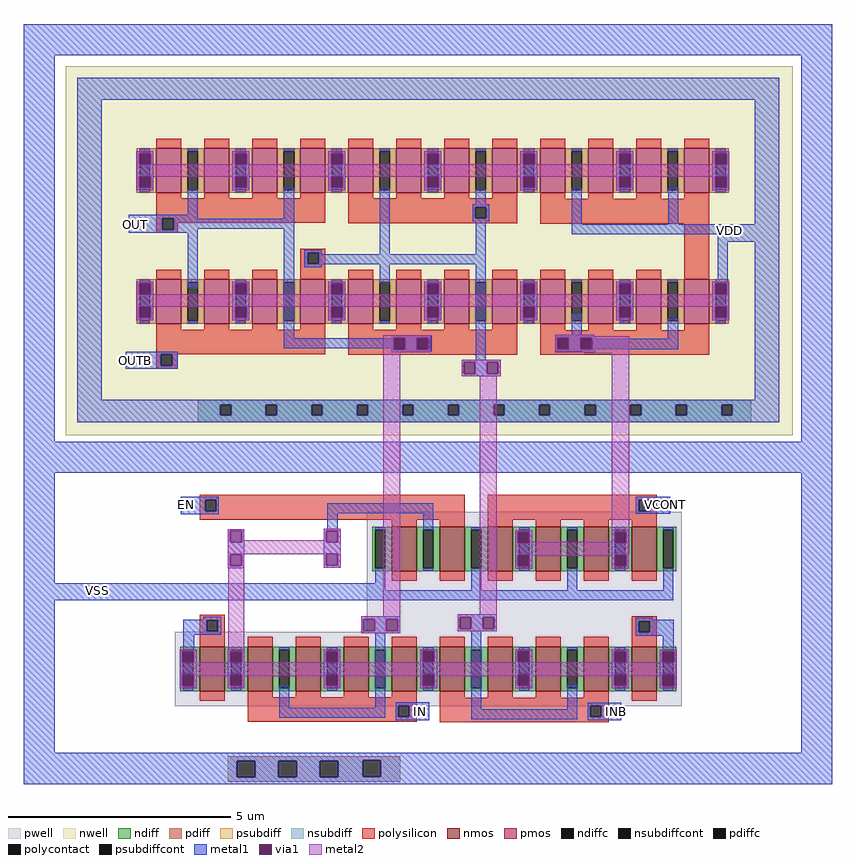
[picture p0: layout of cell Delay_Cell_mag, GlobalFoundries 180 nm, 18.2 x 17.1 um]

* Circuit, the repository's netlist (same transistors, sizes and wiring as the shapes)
* NGSPICE file created from Delay_Cell_mag.ext - technology: gf180mcuC

.subckt pmos_3p3_ZB3RD7 a_268_n144# a_n52_n100# a_n468_n100# a_164_n100# a_380_n100#
+ a_n164_n144# a_n380_n144# a_52_n144# a_n268_n100# w_n554_n230#
X0 a_n268_n100# a_n380_n144# a_n468_n100# w_n554_n230# pfet_03v3 ad=0.26p pd=1.52u as=0.44p ps=2.88u w=1u l=0.56u
X1 a_380_n100# a_268_n144# a_164_n100# w_n554_n230# pfet_03v3 ad=0.44p pd=2.88u as=0.26p ps=1.52u w=1u l=0.56u
X2 a_164_n100# a_52_n144# a_n52_n100# w_n554_n230# pfet_03v3 ad=0.26p pd=1.52u as=0.26p ps=1.52u w=1u l=0.56u
X3 a_n52_n100# a_n164_n144# a_n268_n100# w_n554_n230# pfet_03v3 ad=0.26p pd=1.52u as=0.26p ps=1.52u w=1u l=0.56u
.ends

.subckt nmos_3p3_FSHHD6 a_n52_n100# a_164_n100# a_n164_n144# a_n252_n100# a_52_n144#
+ VSUBS
X0 a_164_n100# a_52_n144# a_n52_n100# VSUBS nfet_03v3 ad=0.44p pd=2.88u as=0.26p ps=1.52u w=1u l=0.56u
X1 a_n52_n100# a_n164_n144# a_n252_n100# VSUBS nfet_03v3 ad=0.26p pd=1.52u as=0.44p ps=2.88u w=1u l=0.56u
.ends

.subckt nmos_3p3_VMHHD6 a_268_n144# a_n52_n100# a_n468_n100# a_164_n100# a_380_n100#
+ a_n164_n144# a_n380_n144# a_52_n144# a_n268_n100# VSUBS
X0 a_n268_n100# a_n380_n144# a_n468_n100# VSUBS nfet_03v3 ad=0.26p pd=1.52u as=0.44p ps=2.88u w=1u l=0.56u
X1 a_380_n100# a_268_n144# a_164_n100# VSUBS nfet_03v3 ad=0.44p pd=2.88u as=0.26p ps=1.52u w=1u l=0.56u
X2 a_164_n100# a_52_n144# a_n52_n100# VSUBS nfet_03v3 ad=0.26p pd=1.52u as=0.26p ps=1.52u w=1u l=0.56u
X3 a_n52_n100# a_n164_n144# a_n268_n100# VSUBS nfet_03v3 ad=0.26p pd=1.52u as=0.26p ps=1.52u w=1u l=0.56u
.ends

.subckt nmos_3p3_QNHHD6 a_56_n100# a_n56_n144# a_n144_n100# VSUBS
X0 a_56_n100# a_n56_n144# a_n144_n100# VSUBS nfet_03v3 ad=0.44p pd=2.88u as=0.44p ps=2.88u w=1u l=0.56u
.ends

.subckt Delay_Cell_mag OUT OUTB EN VCONT INB IN VSS VDD
Xpmos_3p3_ZB3RD7_5 OUT VDD VDD OUTB VDD OUT OUT OUT OUTB VDD pmos_3p3_ZB3RD7
Xpmos_3p3_ZB3RD7_4 OUTB VDD VDD OUT VDD OUTB OUTB OUTB OUT VDD pmos_3p3_ZB3RD7
Xnmos_3p3_FSHHD6_0 a_562_n2079# VSS EN VSS EN VSS nmos_3p3_FSHHD6
Xnmos_3p3_VMHHD6_0 VCONT VSS VSS a_2095_n808# VSS VCONT VCONT VCONT a_2095_n808# VSS
+ nmos_3p3_VMHHD6
Xnmos_3p3_VMHHD6_2 INB a_562_n2079# a_562_n2079# OUTB a_562_n2079# INB INB INB OUTB
+ VSS nmos_3p3_VMHHD6
Xnmos_3p3_VMHHD6_1 IN a_562_n2079# a_562_n2079# OUT a_562_n2079# IN IN IN OUT VSS
+ nmos_3p3_VMHHD6
Xnmos_3p3_QNHHD6_0 a_562_n2079# a_562_n2079# a_562_n2079# VSS nmos_3p3_QNHHD6
Xnmos_3p3_QNHHD6_1 a_562_n2079# a_562_n2079# a_562_n2079# VSS nmos_3p3_QNHHD6
Xpmos_3p3_ZB3RD7_0 a_2095_n808# VDD VDD a_2095_n808# VDD a_2095_n808# a_2095_n808#
+ a_2095_n808# a_2095_n808# VDD pmos_3p3_ZB3RD7
Xpmos_3p3_ZB3RD7_1 OUT m1_277_n67# m1_277_n67# OUT m1_277_n67# OUT OUT OUT OUT VDD
+ pmos_3p3_ZB3RD7
Xpmos_3p3_ZB3RD7_2 OUTB m1_277_n67# m1_277_n67# OUTB m1_277_n67# OUTB OUTB OUTB OUTB
+ VDD pmos_3p3_ZB3RD7
Xpmos_3p3_ZB3RD7_3 a_2095_n808# m1_277_n67# m1_277_n67# VDD m1_277_n67# a_2095_n808#
+ a_2095_n808# a_2095_n808# VDD VDD pmos_3p3_ZB3RD7
.ends

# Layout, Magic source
magic
tech gf180mcuC
magscale 1 10
<< nwell >>
rect -40 -1170 3230 490
<< pwell >>
rect 1314 -2067 2730 -1831
<< psubdiff >>
rect 689 -2633 1465 -2613
rect 689 -2634 1295 -2633
rect 689 -2708 729 -2634
rect 811 -2708 916 -2634
rect 998 -2635 1295 -2634
rect 998 -2708 1103 -2635
rect 689 -2709 1103 -2708
rect 1185 -2707 1295 -2635
rect 1377 -2707 1465 -2633
rect 1185 -2709 1465 -2707
rect 689 -2730 1465 -2709
<< nsubdiff >>
rect 554 -1032 3044 -1010
rect 554 -1080 655 -1032
rect 703 -1080 860 -1032
rect 908 -1080 1065 -1032
rect 1113 -1080 1270 -1032
rect 1318 -1080 1475 -1032
rect 1523 -1080 1680 -1032
rect 1728 -1080 1885 -1032
rect 1933 -1080 2090 -1032
rect 2138 -1080 2295 -1032
rect 2343 -1080 2500 -1032
rect 2548 -1080 2705 -1032
rect 2753 -1080 2910 -1032
rect 2958 -1080 3044 -1032
rect 554 -1110 3044 -1080
<< psubdiffcont >>
rect 729 -2708 811 -2634
rect 916 -2708 998 -2634
rect 1103 -2709 1185 -2635
rect 1295 -2707 1377 -2633
<< nsubdiffcont >>
rect 655 -1080 703 -1032
rect 860 -1080 908 -1032
rect 1065 -1080 1113 -1032
rect 1270 -1080 1318 -1032
rect 1475 -1080 1523 -1032
rect 1680 -1080 1728 -1032
rect 1885 -1080 1933 -1032
rect 2090 -1080 2138 -1032
rect 2295 -1080 2343 -1032
rect 2500 -1080 2548 -1032
rect 2705 -1080 2753 -1032
rect 2910 -1080 2958 -1032
<< polysilicon >>
rect 367 -194 1127 -102
rect 367 -244 394 -194
rect 444 -214 1127 -194
rect 1231 -144 1991 -103
rect 1231 -194 1802 -144
rect 1852 -194 1991 -144
rect 444 -244 464 -214
rect 1231 -215 1991 -194
rect 2095 -217 2855 -105
rect 367 -259 464 -244
rect 1015 -348 1127 -330
rect 1015 -398 1047 -348
rect 1097 -398 1127 -348
rect 1015 -424 1127 -398
rect 2743 -428 2855 -217
rect 367 -793 1127 -694
rect 366 -806 1127 -793
rect 1231 -731 1991 -695
rect 1231 -781 1434 -731
rect 1484 -781 1545 -731
rect 1595 -781 1991 -731
rect 366 -856 387 -806
rect 437 -856 463 -806
rect 1231 -807 1991 -781
rect 2095 -734 2855 -696
rect 2095 -784 2173 -734
rect 2223 -735 2855 -734
rect 2223 -784 2278 -735
rect 2095 -785 2278 -784
rect 2328 -785 2855 -735
rect 2095 -808 2855 -785
rect 366 -870 463 -856
rect 562 -1461 1754 -1437
rect 562 -1511 586 -1461
rect 636 -1511 1754 -1461
rect 562 -1549 1754 -1511
rect 1858 -1461 2618 -1438
rect 1858 -1511 2538 -1461
rect 2588 -1511 2618 -1461
rect 1858 -1549 2618 -1511
rect 562 -2001 674 -1978
rect 562 -2051 593 -2001
rect 643 -2051 674 -2001
rect 562 -2079 674 -2051
rect 2506 -2007 2618 -1983
rect 2506 -2057 2537 -2007
rect 2587 -2057 2618 -2007
rect 2506 -2079 2618 -2057
rect 778 -2386 1538 -2349
rect 778 -2436 1456 -2386
rect 1505 -2436 1538 -2386
rect 778 -2460 1538 -2436
rect 1642 -2387 2402 -2350
rect 1642 -2437 2319 -2387
rect 2369 -2437 2402 -2387
rect 1642 -2461 2402 -2437
<< polycontact >>
rect 394 -244 444 -194
rect 1802 -194 1852 -144
rect 1047 -398 1097 -348
rect 1434 -781 1484 -731
rect 1545 -781 1595 -731
rect 387 -856 437 -806
rect 2173 -784 2223 -734
rect 2278 -785 2328 -735
rect 586 -1511 636 -1461
rect 2538 -1511 2588 -1461
rect 593 -2051 643 -2001
rect 2537 -2057 2587 -2007
rect 1456 -2436 1505 -2386
rect 2319 -2437 2369 -2387
<< metal1 >>
rect -231 541 3409 681
rect -231 -1199 -91 541
rect 10 340 3170 440
rect 10 -1010 120 340
rect 277 100 353 108
rect 277 48 289 100
rect 341 48 353 100
rect 277 -4 353 48
rect 277 -56 289 -4
rect 341 -56 353 -4
rect 277 -67 353 -56
rect 709 100 785 108
rect 709 48 721 100
rect 773 48 785 100
rect 709 -4 785 48
rect 709 -56 721 -4
rect 773 -56 785 -4
rect 1141 100 1217 108
rect 1141 48 1153 100
rect 1205 48 1217 100
rect 1141 -4 1217 48
rect 1141 -56 1153 -4
rect 1205 -56 1217 -4
rect 508 -178 554 -62
rect 709 -67 785 -56
rect 242 -194 554 -178
rect 242 -244 394 -194
rect 444 -195 554 -194
rect 940 -195 986 -56
rect 1141 -67 1217 -56
rect 1573 100 1649 108
rect 1573 48 1585 100
rect 1637 48 1649 100
rect 1573 -4 1649 48
rect 1573 -56 1585 -4
rect 1637 -56 1649 -4
rect 444 -241 986 -195
rect 444 -244 554 -241
rect 242 -259 554 -244
rect 277 -486 353 -478
rect 277 -538 289 -486
rect 341 -538 353 -486
rect 508 -508 554 -259
rect 709 -486 785 -478
rect 277 -590 353 -538
rect 277 -642 289 -590
rect 341 -642 353 -590
rect 277 -653 353 -642
rect 709 -538 721 -486
rect 773 -538 785 -486
rect 709 -590 785 -538
rect 709 -642 721 -590
rect 773 -642 785 -590
rect 709 -653 785 -642
rect 940 -733 986 -241
rect 1032 -348 1111 -335
rect 1032 -398 1047 -348
rect 1097 -354 1111 -348
rect 1372 -354 1418 -59
rect 1573 -67 1649 -56
rect 2005 100 2081 108
rect 2005 48 2017 100
rect 2069 48 2081 100
rect 2005 -4 2081 48
rect 2005 -56 2017 -4
rect 2069 -56 2081 -4
rect 1804 -131 1850 -62
rect 2005 -67 2081 -56
rect 2437 100 2513 108
rect 2437 48 2449 100
rect 2501 48 2513 100
rect 2437 -4 2513 48
rect 2437 -56 2449 -4
rect 2501 -56 2513 -4
rect 2869 100 2945 108
rect 2869 48 2881 100
rect 2933 48 2945 100
rect 2869 -4 2945 48
rect 1790 -144 1864 -131
rect 1790 -194 1802 -144
rect 1852 -194 1864 -144
rect 1790 -206 1864 -194
rect 1804 -354 1850 -206
rect 2236 -220 2282 -58
rect 2437 -67 2513 -56
rect 2669 -220 2715 -55
rect 2869 -56 2881 -4
rect 2933 -56 2945 -4
rect 2869 -67 2945 -56
rect 3060 -220 3170 340
rect 2236 -266 3170 -220
rect 1097 -398 1850 -354
rect 1032 -400 1850 -398
rect 1032 -413 1111 -400
rect 1141 -486 1217 -478
rect 1372 -486 1418 -400
rect 1573 -486 1649 -478
rect 1141 -538 1153 -486
rect 1205 -538 1217 -486
rect 1141 -590 1217 -538
rect 1141 -642 1153 -590
rect 1205 -642 1217 -590
rect 1141 -653 1217 -642
rect 1573 -538 1585 -486
rect 1637 -538 1649 -486
rect 1573 -590 1649 -538
rect 1573 -642 1585 -590
rect 1637 -642 1649 -590
rect 1573 -653 1649 -642
rect 1423 -731 1607 -720
rect 1423 -733 1434 -731
rect 1484 -732 1545 -731
rect 940 -779 1434 -733
rect 1423 -784 1434 -779
rect 1486 -784 1538 -732
rect 1595 -781 1607 -731
rect 1590 -784 1607 -781
rect 1423 -792 1607 -784
rect 230 -806 463 -793
rect 1426 -796 1601 -792
rect 230 -856 387 -806
rect 437 -856 463 -806
rect 1804 -829 1850 -400
rect 2892 -298 3170 -266
rect 2892 -478 2938 -298
rect 2005 -486 2081 -478
rect 2005 -538 2017 -486
rect 2069 -538 2081 -486
rect 2005 -590 2081 -538
rect 2005 -642 2017 -590
rect 2069 -642 2081 -590
rect 2437 -486 2513 -478
rect 2437 -538 2449 -486
rect 2501 -538 2513 -486
rect 2437 -590 2513 -538
rect 2005 -653 2081 -642
rect 2236 -718 2282 -620
rect 2437 -642 2449 -590
rect 2501 -642 2513 -590
rect 2437 -653 2513 -642
rect 2869 -486 2945 -478
rect 2869 -538 2881 -486
rect 2933 -538 2945 -486
rect 2869 -590 2945 -538
rect 2869 -642 2881 -590
rect 2933 -642 2945 -590
rect 2162 -723 2337 -718
rect 2161 -730 2341 -723
rect 2161 -782 2170 -730
rect 2222 -734 2274 -730
rect 2223 -782 2274 -734
rect 2326 -735 2341 -730
rect 2328 -736 2341 -735
rect 2668 -736 2714 -643
rect 2869 -653 2945 -642
rect 2328 -782 2714 -736
rect 2161 -784 2173 -782
rect 2223 -784 2278 -782
rect 2161 -785 2278 -784
rect 2328 -785 2341 -782
rect 2161 -796 2341 -785
rect 230 -870 463 -856
rect 1742 -841 1917 -829
rect 1742 -893 1750 -841
rect 1802 -893 1854 -841
rect 1906 -893 1917 -841
rect 1742 -905 1917 -893
rect 3060 -1010 3170 -298
rect 10 -1032 3170 -1010
rect 10 -1080 655 -1032
rect 703 -1080 860 -1032
rect 908 -1080 1065 -1032
rect 1113 -1080 1270 -1032
rect 1318 -1080 1475 -1032
rect 1523 -1080 1680 -1032
rect 1728 -1080 1885 -1032
rect 1933 -1080 2090 -1032
rect 2138 -1080 2295 -1032
rect 2343 -1080 2500 -1032
rect 2548 -1080 2705 -1032
rect 2753 -1080 2910 -1032
rect 2958 -1080 3170 -1032
rect 10 -1110 3170 -1080
rect 3269 -1199 3409 541
rect -231 -1339 3409 -1199
rect -231 -1835 -91 -1339
rect 476 -1461 648 -1447
rect 476 -1511 586 -1461
rect 636 -1511 648 -1461
rect 2525 -1461 2678 -1446
rect 476 -1524 648 -1511
rect 1136 -1521 1613 -1475
rect 1136 -1591 1182 -1521
rect 687 -1600 763 -1592
rect 687 -1652 699 -1600
rect 751 -1652 763 -1600
rect 687 -1704 763 -1652
rect 687 -1756 699 -1704
rect 751 -1756 763 -1704
rect 687 -1767 763 -1756
rect 1120 -1599 1196 -1591
rect 1567 -1595 1613 -1521
rect 2525 -1511 2538 -1461
rect 2588 -1511 2678 -1461
rect 2525 -1523 2678 -1511
rect 1120 -1651 1132 -1599
rect 1184 -1651 1196 -1599
rect 1120 -1703 1196 -1651
rect 1120 -1755 1132 -1703
rect 1184 -1755 1196 -1703
rect 1120 -1766 1196 -1755
rect 1981 -1604 2057 -1596
rect 1981 -1656 1993 -1604
rect 2045 -1656 2057 -1604
rect 1981 -1708 2057 -1656
rect 1981 -1760 1993 -1708
rect 2045 -1760 2057 -1708
rect 1351 -1835 1397 -1770
rect -231 -1867 1397 -1835
rect 1783 -1867 1829 -1769
rect 1981 -1771 2057 -1760
rect 2417 -1603 2493 -1595
rect 2417 -1655 2429 -1603
rect 2481 -1655 2493 -1603
rect 2417 -1707 2493 -1655
rect 2417 -1759 2429 -1707
rect 2481 -1759 2493 -1707
rect 2215 -1867 2261 -1768
rect 2417 -1770 2493 -1759
rect 2647 -1867 2693 -1771
rect -231 -1913 2693 -1867
rect -231 -2599 -91 -1913
rect 578 -1999 658 -1986
rect 487 -2001 658 -1999
rect 487 -2051 593 -2001
rect 643 -2051 658 -2001
rect 487 -2067 658 -2051
rect 1289 -1997 1464 -1985
rect 1289 -2049 1297 -1997
rect 1349 -2049 1401 -1997
rect 1453 -2049 1464 -1997
rect 1289 -2061 1464 -2049
rect 1724 -1988 1899 -1976
rect 1724 -2040 1732 -1988
rect 1784 -2040 1836 -1988
rect 1888 -2040 1899 -1988
rect 1724 -2052 1899 -2040
rect 2524 -1999 2601 -1991
rect 2524 -2007 2694 -1999
rect 487 -2134 538 -2067
rect 472 -2142 548 -2134
rect 472 -2194 484 -2142
rect 536 -2194 548 -2142
rect 472 -2246 548 -2194
rect 472 -2298 484 -2246
rect 536 -2298 548 -2246
rect 472 -2309 548 -2298
rect 687 -2141 763 -2133
rect 687 -2193 699 -2141
rect 751 -2193 763 -2141
rect 687 -2245 763 -2193
rect 687 -2297 699 -2245
rect 751 -2297 763 -2245
rect 687 -2308 763 -2297
rect 1119 -2141 1195 -2133
rect 1119 -2193 1131 -2141
rect 1183 -2193 1195 -2141
rect 1119 -2245 1195 -2193
rect 1119 -2297 1131 -2245
rect 1183 -2297 1195 -2245
rect 919 -2395 965 -2299
rect 1119 -2308 1195 -2297
rect 1351 -2395 1397 -2061
rect 1554 -2140 1630 -2132
rect 1554 -2192 1566 -2140
rect 1618 -2192 1630 -2140
rect 1554 -2244 1630 -2192
rect 1554 -2296 1566 -2244
rect 1618 -2296 1630 -2244
rect 1554 -2307 1630 -2296
rect 919 -2441 1397 -2395
rect 1443 -2386 1595 -2371
rect 1443 -2436 1456 -2386
rect 1505 -2436 1595 -2386
rect 1443 -2452 1595 -2436
rect 1783 -2402 1829 -2052
rect 2524 -2057 2537 -2007
rect 2587 -2057 2694 -2007
rect 2524 -2072 2694 -2057
rect 1981 -2140 2057 -2132
rect 1981 -2192 1993 -2140
rect 2045 -2192 2057 -2140
rect 1981 -2244 2057 -2192
rect 1981 -2296 1993 -2244
rect 2045 -2296 2057 -2244
rect 2416 -2141 2492 -2133
rect 2646 -2134 2694 -2072
rect 2416 -2193 2428 -2141
rect 2480 -2193 2492 -2141
rect 2416 -2245 2492 -2193
rect 1981 -2307 2057 -2296
rect 2215 -2402 2261 -2291
rect 2416 -2297 2428 -2245
rect 2480 -2297 2492 -2245
rect 2416 -2308 2492 -2297
rect 2632 -2142 2708 -2134
rect 2632 -2194 2644 -2142
rect 2696 -2194 2708 -2142
rect 2632 -2246 2708 -2194
rect 2632 -2298 2644 -2246
rect 2696 -2298 2708 -2246
rect 2632 -2309 2708 -2298
rect 1783 -2448 2261 -2402
rect 2307 -2387 2459 -2373
rect 2307 -2437 2319 -2387
rect 2369 -2437 2459 -2387
rect 2307 -2451 2459 -2437
rect 3269 -2599 3409 -1339
rect -231 -2633 3409 -2599
rect -231 -2634 1295 -2633
rect -231 -2708 729 -2634
rect 811 -2708 916 -2634
rect 998 -2635 1295 -2634
rect 998 -2708 1103 -2635
rect -231 -2709 1103 -2708
rect 1185 -2707 1295 -2635
rect 1377 -2707 3409 -2633
rect 1185 -2709 3409 -2707
rect -231 -2739 3409 -2709
<< via1 >>
rect 289 48 341 100
rect 289 -56 341 -4
rect 721 48 773 100
rect 721 -56 773 -4
rect 1153 48 1205 100
rect 1153 -56 1205 -4
rect 1585 48 1637 100
rect 1585 -56 1637 -4
rect 289 -538 341 -486
rect 289 -642 341 -590
rect 721 -538 773 -486
rect 721 -642 773 -590
rect 2017 48 2069 100
rect 2017 -56 2069 -4
rect 2449 48 2501 100
rect 2449 -56 2501 -4
rect 2881 48 2933 100
rect 2881 -56 2933 -4
rect 1153 -538 1205 -486
rect 1153 -642 1205 -590
rect 1585 -538 1637 -486
rect 1585 -642 1637 -590
rect 1434 -781 1484 -732
rect 1484 -781 1486 -732
rect 1434 -784 1486 -781
rect 1538 -781 1545 -732
rect 1545 -781 1590 -732
rect 1538 -784 1590 -781
rect 2017 -538 2069 -486
rect 2017 -642 2069 -590
rect 2449 -538 2501 -486
rect 2449 -642 2501 -590
rect 2881 -538 2933 -486
rect 2881 -642 2933 -590
rect 2170 -734 2222 -730
rect 2170 -782 2173 -734
rect 2173 -782 2222 -734
rect 2274 -735 2326 -730
rect 2274 -782 2278 -735
rect 2278 -782 2326 -735
rect 1750 -893 1802 -841
rect 1854 -893 1906 -841
rect 699 -1652 751 -1600
rect 699 -1756 751 -1704
rect 1132 -1651 1184 -1599
rect 1132 -1755 1184 -1703
rect 1993 -1656 2045 -1604
rect 1993 -1760 2045 -1708
rect 2429 -1655 2481 -1603
rect 2429 -1759 2481 -1707
rect 1297 -2049 1349 -1997
rect 1401 -2049 1453 -1997
rect 1732 -2040 1784 -1988
rect 1836 -2040 1888 -1988
rect 484 -2194 536 -2142
rect 484 -2298 536 -2246
rect 699 -2193 751 -2141
rect 699 -2297 751 -2245
rect 1131 -2193 1183 -2141
rect 1131 -2297 1183 -2245
rect 1566 -2192 1618 -2140
rect 1566 -2296 1618 -2244
rect 1993 -2192 2045 -2140
rect 1993 -2296 2045 -2244
rect 2428 -2193 2480 -2141
rect 2428 -2297 2480 -2245
rect 2644 -2194 2696 -2142
rect 2644 -2298 2696 -2246
<< metal2 >>
rect 277 100 353 108
rect 277 48 289 100
rect 341 51 353 100
rect 709 100 785 108
rect 709 51 721 100
rect 341 48 721 51
rect 773 51 785 100
rect 1141 100 1217 108
rect 1141 51 1153 100
rect 773 48 1153 51
rect 1205 51 1217 100
rect 1573 100 1649 108
rect 1573 51 1585 100
rect 1205 48 1585 51
rect 1637 51 1649 100
rect 2005 100 2081 108
rect 2005 51 2017 100
rect 1637 48 2017 51
rect 2069 51 2081 100
rect 2437 100 2513 108
rect 2437 51 2449 100
rect 2069 48 2449 51
rect 2501 51 2513 100
rect 2869 100 2945 108
rect 2869 51 2881 100
rect 2501 48 2881 51
rect 2933 48 2945 100
rect 277 -4 2945 48
rect 277 -56 289 -4
rect 341 -6 721 -4
rect 341 -56 353 -6
rect 277 -67 353 -56
rect 709 -56 721 -6
rect 773 -6 1153 -4
rect 773 -56 785 -6
rect 709 -67 785 -56
rect 1141 -56 1153 -6
rect 1205 -6 1585 -4
rect 1205 -56 1217 -6
rect 1141 -67 1217 -56
rect 1573 -56 1585 -6
rect 1637 -6 2017 -4
rect 1637 -56 1649 -6
rect 1573 -67 1649 -56
rect 2005 -56 2017 -6
rect 2069 -6 2449 -4
rect 2069 -56 2081 -6
rect 2005 -67 2081 -56
rect 2437 -56 2449 -6
rect 2501 -6 2881 -4
rect 2501 -56 2513 -6
rect 2437 -67 2513 -56
rect 2869 -56 2881 -6
rect 2933 -56 2945 -4
rect 2869 -67 2945 -56
rect 277 -486 353 -478
rect 277 -538 289 -486
rect 341 -535 353 -486
rect 709 -486 785 -478
rect 709 -535 721 -486
rect 341 -538 721 -535
rect 773 -535 785 -486
rect 1141 -486 1217 -478
rect 1141 -535 1153 -486
rect 773 -538 1153 -535
rect 1205 -535 1217 -486
rect 1573 -486 1649 -478
rect 1573 -535 1585 -486
rect 1205 -538 1585 -535
rect 1637 -535 1649 -486
rect 2005 -486 2081 -478
rect 2005 -535 2017 -486
rect 1637 -538 2017 -535
rect 2069 -535 2081 -486
rect 2437 -486 2513 -478
rect 2437 -535 2449 -486
rect 2069 -538 2449 -535
rect 2501 -535 2513 -486
rect 2869 -486 2945 -478
rect 2869 -535 2881 -486
rect 2501 -538 2881 -535
rect 2933 -538 2945 -486
rect 277 -590 2945 -538
rect 277 -642 289 -590
rect 341 -592 721 -590
rect 341 -642 353 -592
rect 277 -653 353 -642
rect 709 -642 721 -592
rect 773 -592 1153 -590
rect 773 -642 785 -592
rect 709 -653 785 -642
rect 1141 -642 1153 -592
rect 1205 -592 1585 -590
rect 1205 -642 1217 -592
rect 1141 -653 1217 -642
rect 1573 -642 1585 -592
rect 1637 -592 2017 -590
rect 1637 -642 1649 -592
rect 1573 -653 1649 -642
rect 2005 -642 2017 -592
rect 2069 -592 2449 -590
rect 2069 -642 2081 -592
rect 2005 -653 2081 -642
rect 2437 -642 2449 -592
rect 2501 -592 2881 -590
rect 2501 -642 2513 -592
rect 2437 -653 2513 -642
rect 2869 -642 2881 -592
rect 2933 -642 2945 -590
rect 2869 -653 2945 -642
rect 1388 -732 1601 -720
rect 1388 -784 1434 -732
rect 1486 -784 1538 -732
rect 1590 -784 1601 -732
rect 1388 -796 1601 -784
rect 2162 -723 2337 -718
rect 2162 -730 2494 -723
rect 2162 -782 2170 -730
rect 2222 -782 2274 -730
rect 2326 -782 2494 -730
rect 2162 -794 2494 -782
rect 687 -1600 763 -1592
rect 687 -1652 699 -1600
rect 751 -1642 763 -1600
rect 1120 -1599 1196 -1591
rect 1120 -1642 1132 -1599
rect 751 -1651 1132 -1642
rect 1184 -1651 1196 -1599
rect 751 -1652 1196 -1651
rect 687 -1703 1196 -1652
rect 687 -1704 1132 -1703
rect 687 -1756 699 -1704
rect 751 -1756 763 -1704
rect 687 -1767 763 -1756
rect 1120 -1755 1132 -1704
rect 1184 -1755 1196 -1703
rect 1120 -1766 1196 -1755
rect 690 -2133 761 -1767
rect 1388 -1985 1464 -796
rect 2291 -801 2494 -794
rect 1742 -841 1917 -829
rect 1742 -893 1750 -841
rect 1802 -893 1854 -841
rect 1906 -893 1917 -841
rect 1742 -905 1917 -893
rect 1823 -1976 1899 -905
rect 1981 -1604 2057 -1596
rect 1981 -1656 1993 -1604
rect 2045 -1649 2057 -1604
rect 2416 -1603 2494 -801
rect 2416 -1649 2429 -1603
rect 2045 -1655 2429 -1649
rect 2481 -1655 2494 -1603
rect 2045 -1656 2494 -1655
rect 1981 -1704 2494 -1656
rect 1981 -1707 2493 -1704
rect 1981 -1708 2429 -1707
rect 1981 -1760 1993 -1708
rect 2045 -1711 2429 -1708
rect 2045 -1760 2057 -1711
rect 1981 -1771 2057 -1760
rect 2417 -1759 2429 -1711
rect 2481 -1759 2493 -1707
rect 2417 -1770 2493 -1759
rect 1289 -1997 1464 -1985
rect 1289 -2049 1297 -1997
rect 1349 -2049 1401 -1997
rect 1453 -2049 1464 -1997
rect 1289 -2061 1464 -2049
rect 1724 -1988 1899 -1976
rect 1724 -2040 1732 -1988
rect 1784 -2040 1836 -1988
rect 1888 -2040 1899 -1988
rect 1724 -2052 1899 -2040
rect 472 -2142 548 -2134
rect 472 -2194 484 -2142
rect 536 -2192 548 -2142
rect 687 -2141 763 -2133
rect 687 -2192 699 -2141
rect 536 -2193 699 -2192
rect 751 -2192 763 -2141
rect 1119 -2141 1195 -2133
rect 1119 -2192 1131 -2141
rect 751 -2193 1131 -2192
rect 1183 -2192 1195 -2141
rect 1554 -2140 1630 -2132
rect 1554 -2192 1566 -2140
rect 1618 -2192 1630 -2140
rect 1981 -2140 2057 -2132
rect 1981 -2192 1993 -2140
rect 2045 -2192 2057 -2140
rect 2416 -2141 2492 -2133
rect 2416 -2192 2428 -2141
rect 1183 -2193 2428 -2192
rect 2480 -2192 2492 -2141
rect 2632 -2142 2708 -2134
rect 2632 -2192 2644 -2142
rect 2480 -2193 2644 -2192
rect 536 -2194 2644 -2193
rect 2696 -2194 2708 -2142
rect 472 -2244 2708 -2194
rect 472 -2245 1566 -2244
rect 472 -2246 699 -2245
rect 472 -2298 484 -2246
rect 536 -2254 699 -2246
rect 536 -2298 548 -2254
rect 472 -2309 548 -2298
rect 687 -2297 699 -2254
rect 751 -2254 1131 -2245
rect 751 -2297 763 -2254
rect 687 -2308 763 -2297
rect 1119 -2297 1131 -2254
rect 1183 -2254 1566 -2245
rect 1183 -2297 1195 -2254
rect 1119 -2308 1195 -2297
rect 1554 -2296 1566 -2254
rect 1618 -2254 1993 -2244
rect 1618 -2296 1630 -2254
rect 1554 -2307 1630 -2296
rect 1981 -2296 1993 -2254
rect 2045 -2245 2708 -2244
rect 2045 -2254 2428 -2245
rect 2045 -2296 2057 -2254
rect 1981 -2307 2057 -2296
rect 2416 -2297 2428 -2254
rect 2480 -2246 2708 -2245
rect 2480 -2254 2644 -2246
rect 2480 -2297 2492 -2254
rect 2416 -2308 2492 -2297
rect 2632 -2298 2644 -2254
rect 2696 -2298 2708 -2246
rect 2632 -2309 2708 -2298
use nmos_3p3_FSHHD6  nmos_3p3_FSHHD6_0
transform 1 0 1590 0 1 -1681
box -276 -168 276 168
use nmos_3p3_QNHHD6  nmos_3p3_QNHHD6_0
transform 1 0 618 0 1 -2221
box -168 -168 168 168
use nmos_3p3_QNHHD6  nmos_3p3_QNHHD6_1
transform 1 0 2562 0 1 -2221
box -168 -168 168 168
use nmos_3p3_VMHHD6  nmos_3p3_VMHHD6_0
transform 1 0 2238 0 1 -1681
box -492 -168 492 168
use nmos_3p3_VMHHD6  nmos_3p3_VMHHD6_1
transform 1 0 1158 0 1 -2221
box -492 -168 492 168
use nmos_3p3_VMHHD6  nmos_3p3_VMHHD6_2
transform 1 0 2022 0 1 -2221
box -492 -168 492 168
use pmos_3p3_ZB3RD7  pmos_3p3_ZB3RD7_0
transform 1 0 2475 0 1 -568
box -554 -230 554 230
use pmos_3p3_ZB3RD7  pmos_3p3_ZB3RD7_1
transform 1 0 747 0 1 21
box -554 -230 554 230
use pmos_3p3_ZB3RD7  pmos_3p3_ZB3RD7_2
transform 1 0 1611 0 1 21
box -554 -230 554 230
use pmos_3p3_ZB3RD7  pmos_3p3_ZB3RD7_3
transform 1 0 2475 0 1 21
box -554 -230 554 230
use pmos_3p3_ZB3RD7  pmos_3p3_ZB3RD7_4
transform 1 0 747 0 1 -568
box -554 -230 554 230
use pmos_3p3_ZB3RD7  pmos_3p3_ZB3RD7_5
transform 1 0 1611 0 1 -568
box -554 -230 554 230
<< labels >>
flabel metal1 275 -223 275 -223 0 FreeSans 800 0 0 0 OUT
port 0 nsew
flabel metal1 272 -834 272 -834 0 FreeSans 800 0 0 0 OUTB
port 1 nsew
flabel metal1 502 -1481 502 -1481 0 FreeSans 800 0 0 0 EN
port 2 nsew
flabel metal1 2658 -1482 2658 -1482 0 FreeSans 800 0 0 0 VCONT
port 3 nsew
flabel metal1 2435 -2414 2435 -2414 0 FreeSans 800 0 0 0 INB
port 4 nsew
flabel metal1 1556 -2415 1556 -2415 0 FreeSans 800 0 0 0 IN
port 5 nsew
flabel metal1 2947 -249 2947 -249 0 FreeSans 800 0 0 0 VDD
port 8 nsew
flabel metal1 103 -1868 103 -1868 0 FreeSans 800 0 0 0 VSS
port 6 nsew
<< end >>

# cell nmos_3p3_FSHHD6: kit device nmos_3p3, w 1 l 0.56 m 1 nf 2 diffcov 100 polycov 100 guard 0 glc 0 grc 0 gtc 0 gbc 0 tbcov 100 rlcov 100 topc 0 botc 0 poverlap 0 doverlap 1 lmin 0.28 wmin 0.22 full_metal 0 compatible {nmos_3p3 nmos_6p0 nmos_6p0_nat}

# cell nmos_3p3_QNHHD6: kit device nmos_3p3, w 1 l 0.56 m 1 nf 1 diffcov 100 polycov 100 guard 0 glc 0 grc 0 gtc 0 gbc 0 tbcov 100 rlcov 100 topc 0 botc 0 poverlap 0 doverlap 1 lmin 0.28 wmin 0.22 full_metal 0 compatible {nmos_3p3 nmos_6p0 nmos_6p0_nat}

# cell nmos_3p3_VMHHD6: kit device nmos_3p3, w 1 l 0.56 m 1 nf 4 diffcov 100 polycov 100 guard 0 glc 0 grc 0 gtc 0 gbc 0 tbcov 100 rlcov 100 topc 0 botc 0 poverlap 0 doverlap 1 lmin 0.28 wmin 0.22 full_metal 0 compatible {nmos_3p3 nmos_6p0 nmos_6p0_nat}

# cell pmos_3p3_ZB3RD7: kit device pmos_3p3, w 1 l 0.56 m 1 nf 4 diffcov 100 polycov 100 guard 0 glc 0 grc 0 gtc 0 gbc 0 tbcov 100 rlcov 100 topc 0 botc 0 poverlap 0 doverlap 1 lmin 0.28 wmin 0.22 full_metal 0 compatible {pmos_3p3 pmos_6p0}
